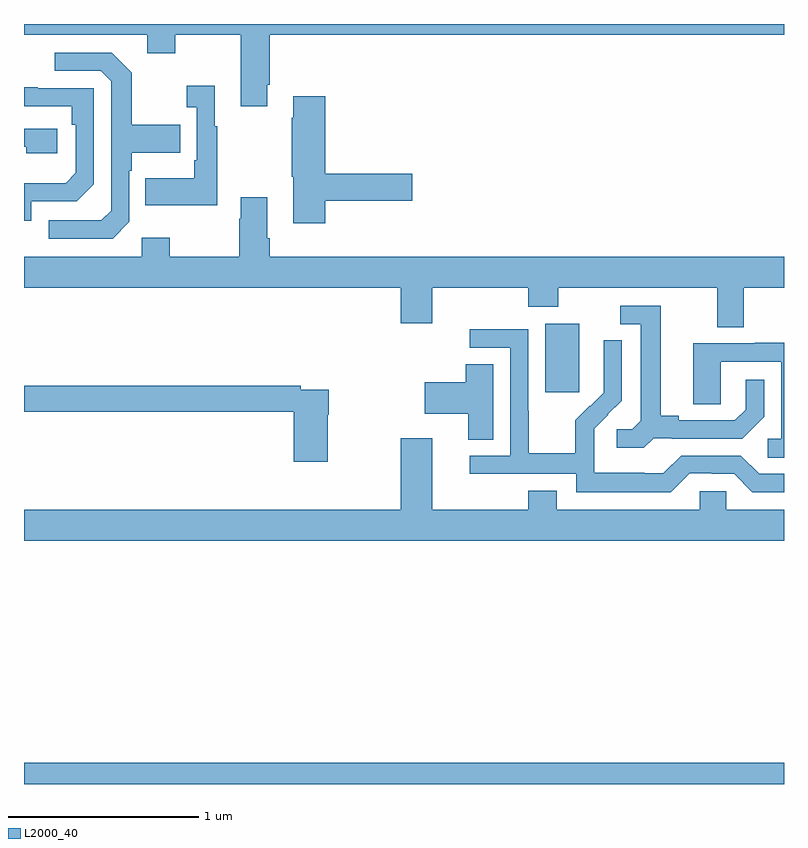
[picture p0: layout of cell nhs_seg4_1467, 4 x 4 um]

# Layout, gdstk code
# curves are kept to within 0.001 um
import gdstk
lib = gdstk.Library(unit=1e-6, precision=1e-09)
def R(c, l, rs):  # rectangles x0, y0, x1, y1
    for r in rs: c.add(gdstk.rectangle(r[:2], r[2:], *l))
def P(c, l, *ps):  # polygons
    for p in ps: c.add(gdstk.Polygon(p, *l))
L2000_40 = (2000, 40)

nhs_seg4_1467 = lib.new_cell('nhs_seg4_1467')
R(nhs_seg4_1467, L2000_40, [(187,768.9,191,769.012), (189.743,770.961,189.922,771.322)])
P(nhs_seg4_1467, L2000_40, [(188.281,772.579),(188.294,772.579),(188.294,772.844),(191,772.844),(191,772.9),(187,772.9),(187,772.844),(187.649,772.844),(187.649,772.745),(187.797,772.745),(187.797,772.844),(188.141,772.844),(188.141,772.467),(188.281,772.467)],
  [(187.554,771.858),(187.554,772.127),(187.567,772.127),(187.567,772.223),(187.823,772.223),(187.823,772.371),(187.567,772.371),(187.567,772.643),(187.461,772.749),(187.161,772.749),(187.161,772.653),(187.404,772.653),(187.458,772.599),(187.458,771.918),(187.407,771.867),(187.131,771.867),(187.131,771.771),(187.467,771.771)],
  [(188.017,772.363),(188.005,772.363),(188.005,772.576),(187.857,772.576),(187.857,772.463),(187.908,772.463),(187.908,772.183),(187.896,772.183),(187.896,772.087),(187.639,772.087),(187.639,771.947),(188.017,771.947)],
  [(187.038,771.966),(187.278,771.966),(187.368,772.056),(187.368,772.563),(187.073,772.563),(187.073,772.568),(187,772.568),(187,772.467),(187.252,772.467),(187.252,772.37),(187.272,772.37),(187.272,772.116),(187.219,772.063),(187,772.063),(187,771.864),(187.038,771.864)],
  [(188.585,771.97),(189.043,771.97),(189.043,772.112),(188.585,772.112),(188.585,772.519),(188.417,772.519),(188.417,772.406),(188.41,772.406),(188.41,772.095),(188.417,772.095),(188.417,771.852),(188.585,771.852)],
  [(187.174,772.35),(187,772.35),(187,772.254),(187.013,772.254),(187.013,772.22),(187.174,772.22)],
  [(190.789,771.512),(191,771.512),(191,771.676),(188.294,771.676),(188.294,771.772),(188.281,771.772),(188.281,771.988),(188.141,771.988),(188.141,771.875),(188.134,771.875),(188.134,771.676),(187.767,771.676),(187.767,771.775),(187.62,771.775),(187.62,771.676),(187,771.676),(187,771.512),(188.984,771.512),(188.984,771.324),(189.148,771.324),(189.148,771.512),(189.653,771.512),(189.653,771.413),(189.813,771.413),(189.813,771.512),(190.649,771.512),(190.649,771.304),(190.789,771.304)],
  [(190.314,770.721),(190.408,770.721),(190.408,770.718),(190.78,770.718),(190.896,770.834),(190.896,771.028),(190.799,771.028),(190.799,770.871),(190.742,770.814),(190.447,770.814),(190.447,770.837),(190.351,770.837),(190.351,771.417),(190.137,771.417),(190.137,771.321),(190.247,771.321),(190.247,770.813),(190.2,770.766),(190.119,770.766),(190.119,770.669),(190.262,770.669)],
  [(190.503,770.535),(190.619,770.535),(190.619,770.532),(190.737,770.532),(190.833,770.436),(191,770.436),(191,770.532),(190.869,770.532),(190.773,770.628),(190.458,770.628),(190.365,770.535),(190.265,770.535),(190.265,770.539),(190.002,770.539),(190.002,770.673),(190,770.673),(190,770.77),(190.146,770.918),(190.146,771.236),(190.05,771.236),(190.05,771.082),(190.052,771.082),(190.052,770.96),(189.981,770.889),(189.978,770.892),(189.901,770.815),(189.901,770.641),(189.657,770.641),(189.657,770.864),(189.654,770.864),(189.654,771.294),(189.345,771.294),(189.345,771.195),(189.558,771.195),(189.558,770.628),(189.345,770.628),(189.345,770.532),(189.906,770.532),(189.906,770.435),(190.403,770.435)],
  [(191,771.223),(190.847,771.223),(190.847,771.219),(190.523,771.219),(190.523,770.899),(190.668,770.899),(190.668,771.123),(190.986,771.123),(190.986,770.718),(190.914,770.718),(190.914,770.617),(191,770.617)],
  [(189.469,771.11),(189.326,771.11),(189.326,771.015),(189.108,771.015),(189.108,770.849),(189.338,770.849),(189.338,770.713),(189.469,770.713)],
  [(188.598,770.843),(188.603,770.843),(188.603,770.976),(188.456,770.976),(188.456,770.996),(187,770.996),(187,770.86),(188.42,770.86),(188.42,770.595),(188.598,770.595)],
  [(191,770.344),(190.695,770.344),(190.695,770.442),(190.557,770.442),(190.557,770.344),(189.805,770.344),(189.805,770.443),(189.653,770.443),(189.653,770.344),(189.148,770.344),(189.148,770.719),(188.984,770.719),(188.984,770.344),(187,770.344),(187,770.18),(191,770.18)])

lib.write_gds('nhs_seg4_1467.gds')
